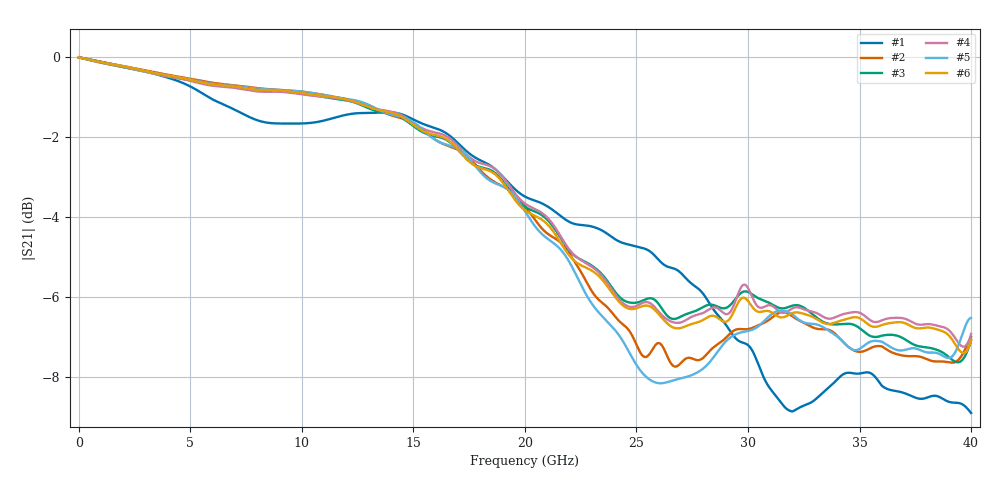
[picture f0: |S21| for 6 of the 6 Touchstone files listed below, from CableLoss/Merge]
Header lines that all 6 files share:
!Keysight Technologies,N5245B,MY57181346,A.13.60.06
!Automatic Fixture Removal (AFR)
!S2P File: Measurements: S11,S21,S12,S22:
# MHz S  DB  R 50
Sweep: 10 MHz to 40 GHz
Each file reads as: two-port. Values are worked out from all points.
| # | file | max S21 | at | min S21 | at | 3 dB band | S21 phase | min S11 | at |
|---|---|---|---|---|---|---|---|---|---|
| 1 | CH1.s2p | -0.01 dB | 10 MHz | -8.9 dB | 40 GHz | 10 MHz-19.04 GHz | -149 deg at 20.01 GHz | -52.8 dB | 10 MHz |
| 2 | CH2.s2p | 0.00 dB | 10 MHz | -7.7 dB | 26.75 GHz | 10 MHz-18.33 GHz | -87 deg at 20.01 GHz | -59.6 dB | 10 MHz |
| 3 | CH3.s2p | -0.01 dB | 10 MHz | -7.6 dB | 39.4 GHz | 10 MHz-18.86 GHz | -150 deg at 20.01 GHz | -53.1 dB | 10 MHz |
| 4 | CH4.s2p | -0.01 dB | 10 MHz | -7.2 dB | 39.66 GHz | 10 MHz-19.02 GHz | -144 deg at 20.01 GHz | -53.6 dB | 2.46 GHz |
| 5 | CH5.s2p | -0.01 dB | 10 MHz | -8.2 dB | 26.08 GHz | 10 MHz-18.23 GHz | -92 deg at 20.01 GHz | -62.2 dB | 10 MHz |
| 6 | CH6.s2p | -0.01 dB | 10 MHz | -7.4 dB | 39.66 GHz | 10 MHz-18.8 GHz | -144 deg at 20.01 GHz | -49.1 dB | 10 MHz |
